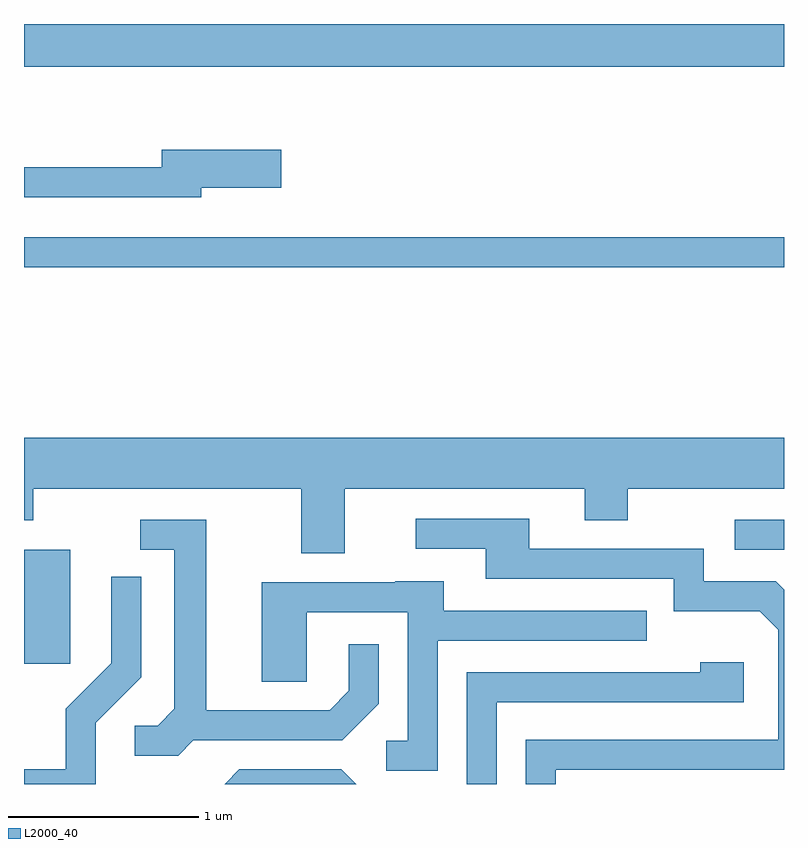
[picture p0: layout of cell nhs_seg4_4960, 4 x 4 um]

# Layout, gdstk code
import gdstk
lib = gdstk.Library(unit=1e-6, precision=1e-09)
def R(c, l, rs):  # rectangles x0, y0, x1, y1
    for r in rs: c.add(gdstk.rectangle(r[:2], r[2:], *l))
def P(c, l, *ps):  # polygons
    for p in ps: c.add(gdstk.Polygon(p, *l))
L2000_40 = (2000, 40)

nhs_seg4_4960 = lib.new_cell('nhs_seg4_4960')
R(nhs_seg4_4960, L2000_40, [(329.611,1382.616,329.854,1383.214), (333.353,1383.216,333.611,1383.374), (329.611,1384.701,333.611,1384.859), (329.611,1385.756,333.611,1385.982)])
P(nhs_seg4_4960, L2000_40, [(330.544,1385.121),(330.964,1385.121),(330.964,1385.319),(330.336,1385.319),(330.336,1385.229),(329.611,1385.229),(329.611,1385.071),(330.544,1385.071)],
  [(329.611,1383.371),(329.659,1383.371),(329.659,1383.536),(331.071,1383.536),(331.071,1383.196),(331.299,1383.196),(331.299,1383.536),(332.561,1383.536),(332.561,1383.371),(332.789,1383.371),(332.789,1383.536),(333.611,1383.536),(333.611,1383.804),(329.611,1383.804)],
  [(332.409,1382.056),(333.611,1382.056),(333.611,1383.005),(333.567,1383.049),(333.189,1383.049),(333.189,1383.219),(332.269,1383.219),(332.269,1383.379),(331.673,1383.379),(331.673,1383.221),(332.041,1383.221),(332.041,1383.061),(333.031,1383.061),(333.031,1382.891),(333.484,1382.891),(333.581,1382.794),(333.581,1382.214),(332.251,1382.214),(332.251,1381.982),(332.409,1381.982)],
  [(330.502,1382.211),(331.287,1382.211),(331.479,1382.404),(331.479,1382.718),(331.321,1382.718),(331.321,1382.472),(331.219,1382.369),(330.569,1382.369),(330.569,1383.374),(330.223,1383.374),(330.223,1383.216),(330.401,1383.216),(330.401,1382.377),(330.314,1382.289),(330.193,1382.289),(330.193,1382.131),(330.422,1382.131)],
  [(329.989,1382.304),(330.229,1382.544),(330.229,1383.073),(330.071,1383.073),(330.071,1382.617),(329.831,1382.377),(329.831,1382.059),(329.611,1382.059),(329.611,1381.982),(329.989,1381.982)],
  [(331.789,1382.736),(332.888,1382.736),(332.888,1382.894),(331.819,1382.894),(331.819,1383.049),(331.565,1383.049),(331.565,1383.044),(330.861,1383.044),(330.861,1382.521),(331.099,1382.521),(331.099,1382.886),(331.631,1382.886),(331.631,1382.209),(331.518,1382.209),(331.518,1382.051),(331.789,1382.051)],
  [(332.099,1382.411),(333.399,1382.411),(333.399,1382.624),(333.171,1382.624),(333.171,1382.569),(331.941,1382.569),(331.941,1381.982),(332.099,1381.982)],
  [(331.282,1382.059),(330.744,1382.059),(330.667,1381.982),(331.359,1381.982)])

lib.write_gds('nhs_seg4_4960.gds')
